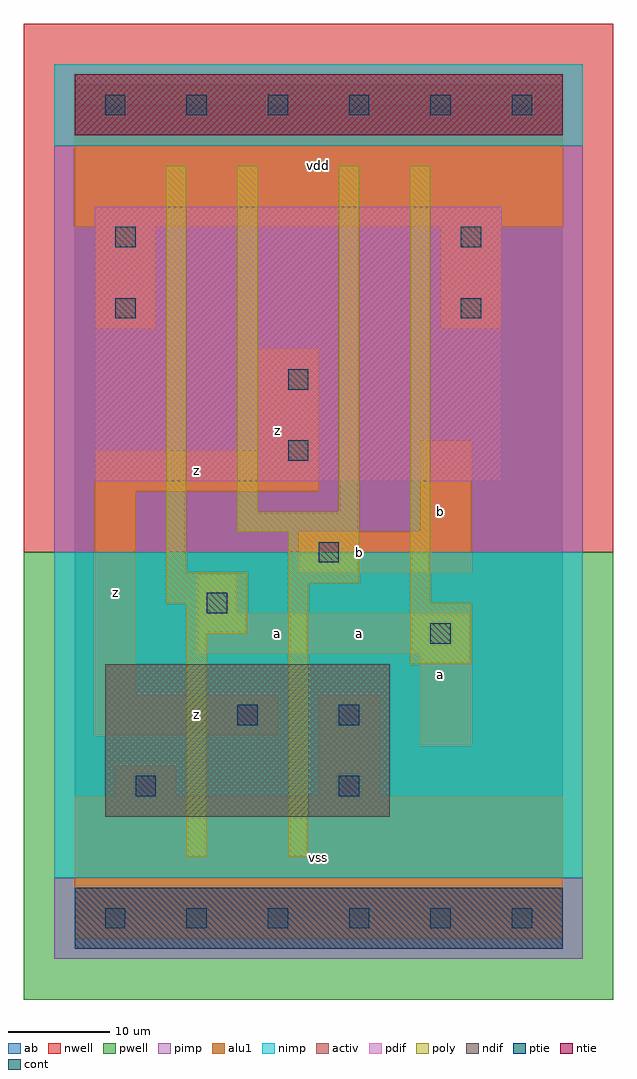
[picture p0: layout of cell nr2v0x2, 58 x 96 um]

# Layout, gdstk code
import gdstk
lib = gdstk.Library(unit=1e-6, precision=1e-09)
def R(c, l, rs):  # rectangles x0, y0, x1, y1
    for r in rs: c.add(gdstk.rectangle(r[:2], r[2:], *l))
def A(c, l, x, y, w, h, nx, ny, dx, dy):  # array of equal rectangles
    R(c, l, [(x+i*dx, y+j*dy, x+i*dx+w, y+j*dy+h) for i in range(nx) for j in range(ny)])
ndif = (3, 0)
pdif = (4, 0)
ntie = (5, 0)
ptie = (6, 0)
cont = (25, 0)
pwell = (41, 0)
nwell = (42, 0)
activ = (43, 0)
pimp = (44, 0)
nimp = (45, 0)
poly = (46, 0)
alu1 = (49, 0)
ab = (63, 0)

nr2v0x2 = lib.new_cell('nr2v0x2')
R(nr2v0x2, ndif, [(3,10,31,25)])
R(nr2v0x2, pdif, [(2,43,42,70)])
R(nr2v0x2, ntie, [(0,77,48,83)])
R(nr2v0x2, ptie, [(0,-3,48,3)])
A(nr2v0x2, cont, 3, -1, 2, 2, 6, 2, 8, 80)
R(nr2v0x2, cont, [(6,12,8,14), (26,12,28,14), (16,19,18,21), (26,19,28,21), (35,27,37,29), (13,30,15,32), (24,35,26,37), (21,45,23,47), (21,52,23,54), (4,59,6,61), (38,59,40,61), (4,66,6,68), (38,66,40,68)])
R(nr2v0x2, pwell, [(-5,-8,53,36)])
R(nr2v0x2, nwell, [(-5,36,53,88)])
R(nr2v0x2, activ, [(0,-3,48,3), (3,10,31,25), (2,43,42,70), (0,77,48,83)])
R(nr2v0x2, pimp, [(-2,-4,50,4), (-2,36,50,76)])
R(nr2v0x2, nimp, [(-2,4,50,36), (-2,76,50,84)])
R(nr2v0x2, poly, [(11,6,13,28), (21,6,23,33), (33,25,39,31), (11,28,17,31), (9,31,17,34), (33,31,35,74), (21,33,28,38), (9,34,11,74), (16,38,28,40), (16,40,18,74), (26,40,28,74)])
R(nr2v0x2, alu1, [(0,-2,48,12), (4,12,10,15), (24,12,30,22), (34,17,39,26), (2,18,20,22), (2,22,6,42), (12,26,39,30), (12,30,16,34), (22,34,39,38), (34,38,39,47), (2,42,24,46), (18,46,24,56), (2,58,8,68), (36,58,42,68), (0,68,48,82)])
R(nr2v0x2, ab, [(0,0,48,80)])
nr2v0x2.add(gdstk.Label('z', (4,32), layer=49, texttype=0))
nr2v0x2.add(gdstk.Label('z', (12,20), layer=49, texttype=0))
nr2v0x2.add(gdstk.Label('a', (20,28), layer=49, texttype=0))
nr2v0x2.add(gdstk.Label('z', (12,44), layer=49, texttype=0))
nr2v0x2.add(gdstk.Label('z', (20,48), layer=49, texttype=0))
nr2v0x2.add(gdstk.Label('vss', (24,6), layer=49, texttype=0))
nr2v0x2.add(gdstk.Label('a', (28,28), layer=49, texttype=0))
nr2v0x2.add(gdstk.Label('b', (28,36), layer=49, texttype=0))
nr2v0x2.add(gdstk.Label('vdd', (24,74), layer=49, texttype=0))
nr2v0x2.add(gdstk.Label('a', (36,24), layer=49, texttype=0))
nr2v0x2.add(gdstk.Label('b', (36,40), layer=49, texttype=0))

lib.write_gds('nr2v0x2.gds')
